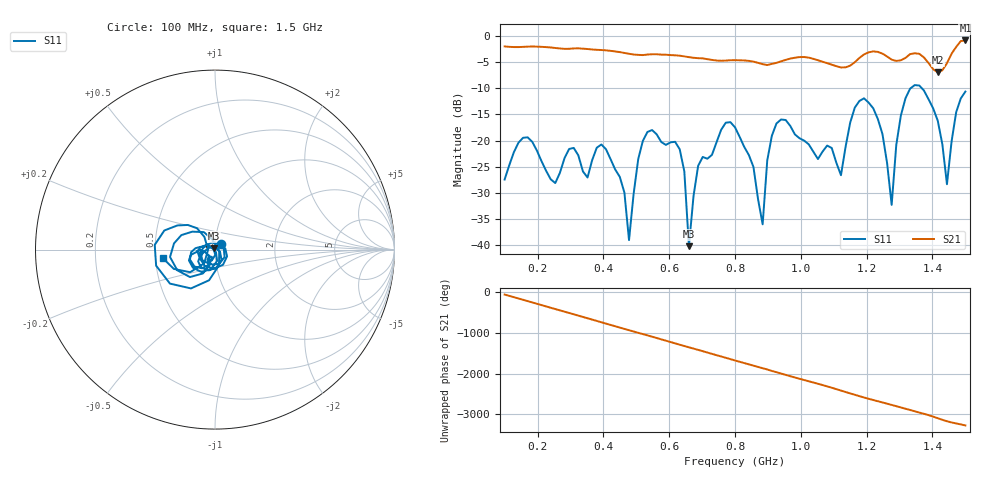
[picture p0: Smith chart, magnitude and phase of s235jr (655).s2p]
! NanoVNA-App
! Date: 2025-09-25 15:09:16
! Start: 100MHz Stop: 1,5GHz Points: 101
! S-Parameter data: F S11 S21 S12 S22
# Hz S RI R 50
!  Frequency  S11_Real  S11_Imag  S21_Real  S21_Imag  S12_Real  S12_Imag  S22_Real  S22_Imag
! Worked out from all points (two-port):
!   101 points, 100 MHz to 1.5 GHz, reference 50 ohm
!   highest |S21| = -0.82 dB at 1.5 GHz (marker M1); lowest = -6.9 dB at 1.416 GHz (marker M2)
!   |S21| within 3 dB of the highest: start of sweep to 640.4 MHz; 1.185 GHz to 1.26 GHz (75.02 MHz wide, 6.14 % of centre) (the widest 2 of 4)
!   lowest |S11| = -40.2 dB at 660 MHz (marker M3), VSWR 1.02, Z = 49.3 + j0.636 ohm
!   |S11| at or under -10 dB: start of sweep to 1.333 GHz; 1.368 GHz to end of sweep
!   S12 and S22 are empty: the file has one direction only
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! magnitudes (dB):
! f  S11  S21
! 100 MHz  -27.5  -2.0
! 156 MHz  -19.5  -2.0
! 338 MHz  -25.9  -2.4
! 408 MHz  -21.7  -2.7
! 478 MHz  -39.1  -3.4
! 520 MHz  -20.1  -3.6
! 576 MHz  -20.3  -3.5
! 632 MHz  -21.7  -3.7
! 660 MHz  -40.2  -4.0
! 688 MHz  -24.8  -4.2
! 800 MHz  -17.5  -4.6
! 884 MHz  -36.1  -5.4
! 926 MHz  -16.7  -5.1
! 1.038 GHz  -22.1  -4.3
! 1.122 GHz  -26.6  -6.0
! 1.192 GHz  -11.9  -3.5
! 1.248 GHz  -18.7  -3.3
! 1.276 GHz  -32.3  -4.5
! 1.332 GHz  -10.0  -3.4
! 1.416 GHz  -16.2  -6.9
! 1.444 GHz  -28.4  -5.2
! 1.5 GHz  -10.6  -0.8
